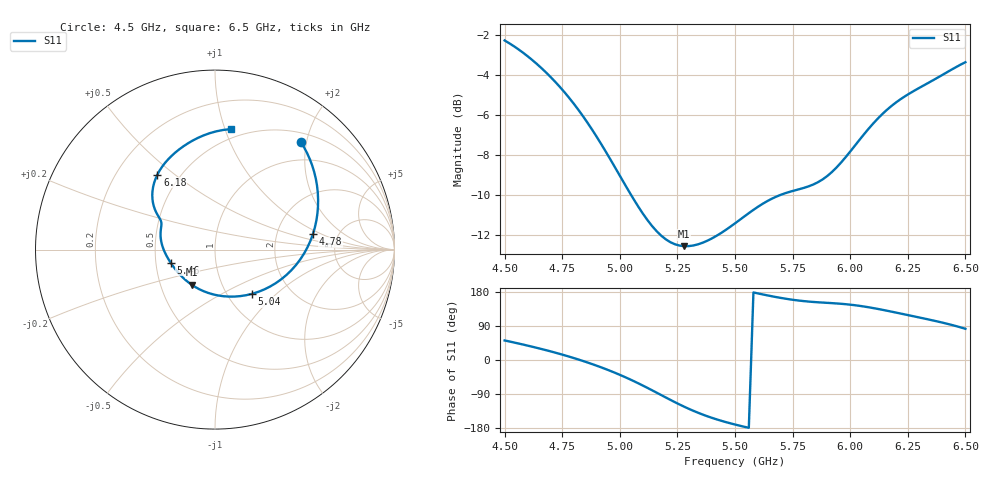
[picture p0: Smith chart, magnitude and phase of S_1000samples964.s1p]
! TOUCHSTONE file generated by CST MICROWAVE STUDIO
! Date and time: Sat Oct 29 22:46:29 2022
! Project name: L.cst
! Parameters = {Di=1.27; Epsilon_r=1.56; InnerDiameter=1.27; Length=2; Lf=10; Lg=60; OuterConductorThickness=0.2921; OuterDiameter=3.6; Wf=3; Wp=41.2; de=1.5; df=6.8; g=0.8; gx=1.65001; gy=0.965419; h=2.34; hf=1.524; px=11.7121; py=11.3017; w=9.7; wx=10.0621; wy=10.3363}
! Header version: 2018
! Port assignment regex: !\s*Touchstone port\s*([0-9]+)\s*=\s*(CST MWS port|CST DS port)\s*([0-9]+|Zmin|Zmax)\s*\(\"(.*)\"\)(\s*mode\s*([0-9]+))?.*
! Touchstone port assignment:
! Touchstone port 1 = CST MWS port 1 ("")
# GHz S DB R 50
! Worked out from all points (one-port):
!   101 points, 4.5 GHz to 6.5 GHz, reference 50 ohm
!   lowest |S11| = -12.6 dB at 5.28 GHz (marker M1), VSWR 1.61, Z = 36 - j14.9 ohm
!   |S11| at or under -10 dB: 5.048 GHz to 5.702 GHz (653.8 MHz wide, 12.2 % of centre)
!   S11 on the Smith chart (normalised r, x): 4.5 GHz: 0.65, +1.89; 4.78 GHz: 3.25, +0.80; 5.04 GHz: 1.30, -0.71; 5.46 GHz: 0.60, -0.09; 6.18 GHz: 0.38, +0.44; 6.5 GHz: 0.42, +1.05
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4.5  -2.29 51.6
4.58  -2.91 40.8
4.64  -3.47 32.0
4.7  -4.13 22.7
4.76  -4.88 12.5
4.78  -5.16 8.9
4.84  -6.08 -2.5
4.9  -7.12 -15.1
5  -9.06 -39.1
5.04  -9.85 -49.9
5.14  -11.57 -79.9
5.2  -12.24 -99.0
5.26  -12.55 -117.6
5.28  -12.58 -123.4
5.36  -12.41 -144.0
5.46  -11.77 -163.8
5.5  -11.44 -170.3
5.62  -10.46 173.1
5.76  -9.79 158.2
5.88  -9.25 151.6
6  -7.85 146.0
6.1  -6.45 137.0
6.18  -5.56 127.5
6.26  -4.93 117.3
6.34  -4.41 106.9
6.4  -4.02 98.7
6.46  -3.62 89.4
6.5  -3.38 82.3
